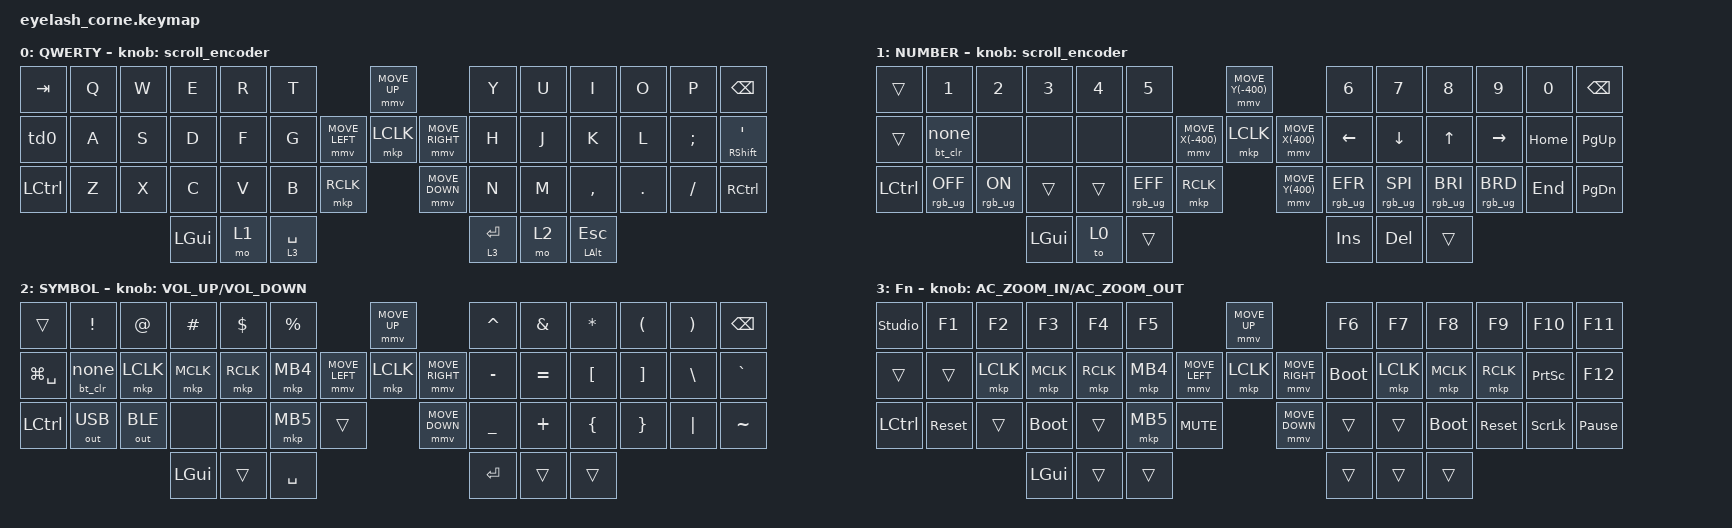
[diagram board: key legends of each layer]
#define ZMK_POINTING_DEFAULT_MOVE_VAL 1200  // 600
#define ZMK_POINTING_DEFAULT_SCRL_VAL 40   // 10

#include <input/processors.dtsi>
#include <zephyr/dt-bindings/input/input-event-codes.h>
#include <behaviors.dtsi>
#include <dt-bindings/zmk/bt.h>
#include <dt-bindings/zmk/keys.h>
#include <dt-bindings/zmk/outputs.h>
#include <dt-bindings/zmk/pointing.h>
#include <dt-bindings/zmk/rgb.h>

&mmv_input_listener { input-processors = <&zip_xy_scaler 2 1>; };

&msc_input_listener { input-processors = <&zip_scroll_scaler 2 1>; };

&msc {
    acceleration-exponent = <2>;      // 0
    time-to-max-speed-ms = <300>;       // 300
    delay-ms = <0>;                   // 0
};

&mmv {
    time-to-max-speed-ms = <400>;
    acceleration-exponent = <2>;
    trigger-period-ms = <16>;
};

&soft_off { hold-time-ms = <2000>; };

/ {
    behaviors {
        td0: td0 {
            compatible = "zmk,behavior-tap-dance";
            display-name = "Shift/Caps Lock Tap Dance";
            #binding-cells = <0>;
            bindings = <&kp LEFT_SHIFT>, <&kp CAPS>;
        };

        scroll_encoder: scroll_encoder {
            compatible = "zmk,behavior-sensor-rotate";
            #sensor-binding-cells = <0>;
            bindings = <&msc SCRL_UP>, <&msc SCRL_DOWN>;

            tap-ms = <100>;
        };

        h_bt_clr: h_bt_clr {
            compatible = "zmk,behavior-hold-tap";
            label = "H_BT_CLR";
            bindings = <&bt_clr>, <&none>;

            #binding-cells = <2>;
            flavor = "hold-preferred";
            tapping-term-ms = <2000>;
        };
    };

    combos {
        compatible = "zmk,combos";

        softoff {
            bindings = <&soft_off>;
            key-positions = <1 15 29>;
        };
    };

    macros {
        bt_clr: bt_clr {
            compatible = "zmk,behavior-macro";
            #binding-cells = <0>;
            bindings = <&bt BT_CLR>;
            label = "BT_CLR";
        };

        bt_0: bt_0 {
            compatible = "zmk,behavior-macro";
            #binding-cells = <0>;
            bindings = <&bt BT_SEL 0>;
            label = "BT_0";
        };

        bt_1: bt_1 {
            compatible = "zmk,behavior-macro";
            #binding-cells = <0>;
            bindings = <&bt BT_SEL 1>;
            label = "BT_1";
        };

        bt_3: bt_3 {
            compatible = "zmk,behavior-macro";
            #binding-cells = <0>;
            bindings = <&bt BT_SEL 3>;
            label = "BT_3";
        };

        bt_2: bt_2 {
            compatible = "zmk,behavior-macro";
            #binding-cells = <0>;
            bindings = <&bt BT_SEL 2>;
            label = "BT_2";
        };
    };

    keymap {
        compatible = "zmk,keymap";

        default_layer {
            display-name = "QWERTY";
            bindings = <
&kp TAB    &kp Q  &kp W  &kp E     &kp R  &kp T                                     &mmv MOVE_UP                     &kp Y        &kp U  &kp I             &kp O    &kp P     &kp BSPC
&td0       &kp A  &kp S  &kp D     &kp F  &kp G                     &mmv MOVE_LEFT  &mkp LCLK       &mmv MOVE_RIGHT  &kp H        &kp J  &kp K             &kp L    &kp SEMI  &mt RIGHT_SHIFT SQT
&kp LCTRL  &kp Z  &kp X  &kp C     &kp V  &kp B        &mkp RCLK                    &mmv MOVE_DOWN                   &kp N        &kp M  &kp COMMA         &kp DOT  &kp FSLH  &kp RCTRL
                         &kp LGUI  &mo 1  &lt 3 SPACE                                                                &lt 3 ENTER  &mo 2  &mt LEFT_ALT ESC
            >;

            sensor-bindings = <&scroll_encoder>;
        };

        lower_layer {
            display-name = "NUMBER";
            bindings = <
&trans     &kp N1           &kp N2          &kp N3    &kp N4  &kp N5                                           &mmv MOVE_Y(-400)                    &kp N6           &kp N7           &kp N8           &kp N9           &kp N0    &kp BSPC
&trans     &h_bt_clr 0 0    &none           &none     &none   &none                         &mmv MOVE_X(-400)  &mkp LCLK          &mmv MOVE_X(400)  &kp LEFT         &kp DOWN         &kp UP           &kp RIGHT        &kp HOME  &kp PG_UP
&kp LCTRL  &rgb_ug RGB_OFF  &rgb_ug RGB_ON  &trans    &trans  &rgb_ug RGB_EFF  &mkp RCLK                       &mmv MOVE_Y(400)                     &rgb_ug RGB_EFR  &rgb_ug RGB_SPI  &rgb_ug RGB_BRI  &rgb_ug RGB_BRD  &kp END   &kp PG_DN
                                            &kp LGUI  &to 0   &trans                                                                                &kp INS          &kp DEL          &trans
            >;

            sensor-bindings = <&scroll_encoder>;
        };

        raise_layer {
            display-name = "SYMBOL";
            bindings = <
&trans         &kp EXCL       &kp AT        &kp HASH   &kp DLLR   &kp PRCNT                            &mmv MOVE_UP                     &kp CARET  &kp AMPS   &kp ASTRK  &kp LPAR  &kp RPAR  &kp BSPC
&kp LG(SPACE)  &h_bt_clr 0 0  &mkp LCLK     &mkp MCLK  &mkp RCLK  &mkp MB4             &mmv MOVE_LEFT  &mkp LCLK       &mmv MOVE_RIGHT  &kp MINUS  &kp EQUAL  &kp LBKT   &kp RBKT  &kp BSLH  &kp GRAVE
&kp LCTRL      &out OUT_USB   &out OUT_BLE  &none      &none      &mkp MB5   &trans                    &mmv MOVE_DOWN                   &kp UNDER  &kp PLUS   &kp LBRC   &kp RBRC  &kp PIPE  &kp TILDE
                                            &kp LGUI   &trans     &kp SPACE                                                             &kp RET    &trans     &trans
            >;

            sensor-bindings = <&inc_dec_kp C_VOLUME_UP C_VOLUME_DOWN>;
        };

        layer_3 {
            display-name = "Fn";
            bindings = <
&studio_unlock  &kp F1      &kp F2     &kp F3       &kp F4     &kp F5                                  &mmv MOVE_UP                     &kp F6       &kp F7     &kp F8       &kp F9      &kp F10          &kp F11
&trans          &trans      &mkp LCLK  &mkp MCLK    &mkp RCLK  &mkp MB4                &mmv MOVE_LEFT  &mkp LCLK       &mmv MOVE_RIGHT  &bootloader  &mkp LCLK  &mkp MCLK    &mkp RCLK   &kp PRINTSCREEN  &kp F12
&kp LCTRL       &sys_reset  &trans     &bootloader  &trans     &mkp MB5  &kp C_MUTE                    &mmv MOVE_DOWN                   &trans       &trans     &bootloader  &sys_reset  &kp SCROLLLOCK   &kp PAUSE_BREAK
                                       &kp LGUI     &trans     &trans                                                                   &trans       &trans     &trans
            >;

            sensor-bindings = <&inc_dec_kp C_AC_ZOOM_IN C_AC_ZOOM_OUT>;
        };
    };
};
